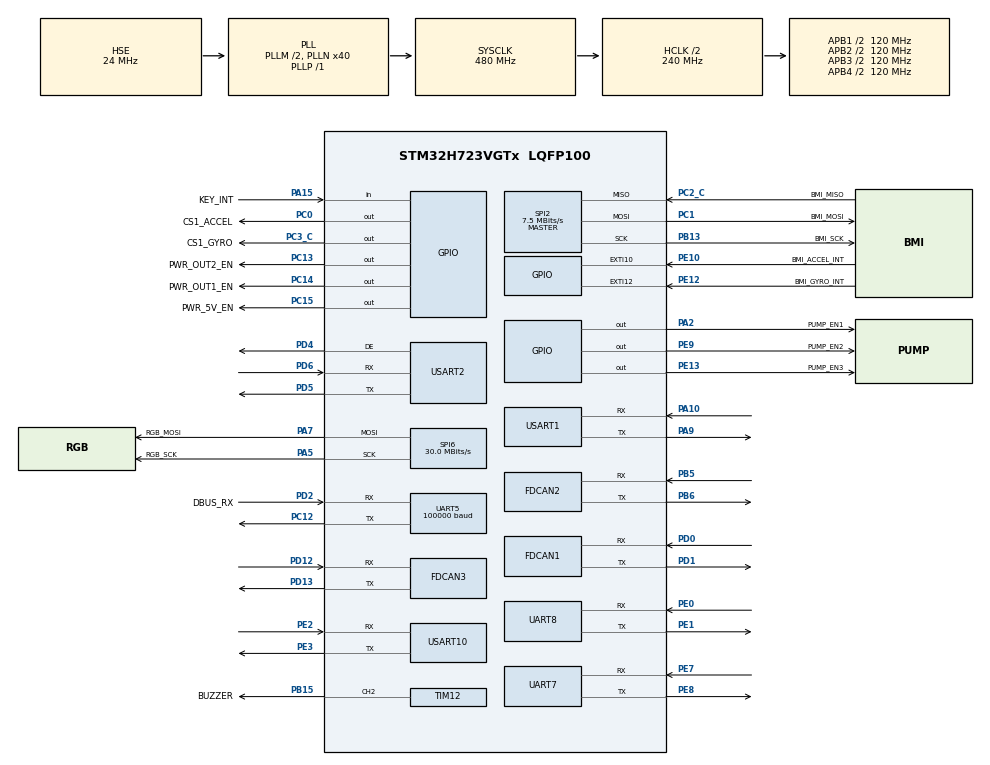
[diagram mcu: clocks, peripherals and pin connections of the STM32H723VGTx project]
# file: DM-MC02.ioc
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CORTEX_M7.CPU_DCache=Disabled
CORTEX_M7.CPU_ICache=Enabled
CORTEX_M7.Enable-Cortex_Memory_Protection_Unit_Region0_Settings=MPU_REGION_ENABLE
CORTEX_M7.MPU_Control=__NULL
CORTEX_M7.default_mode_Activation=0
Dma.Request0=SPI2_RX
Dma.Request1=SPI2_TX
Dma.Request10=UART8_TX
Dma.Request2=USART10_RX
Dma.Request3=USART10_TX
Dma.Request4=UART5_RX
Dma.Request5=UART7_TX
Dma.Request6=USART1_TX
Dma.Request7=UART7_RX
Dma.Request8=USART1_RX
Dma.Request9=UART8_RX
Dma.SPI2_RX.0.Direction=DMA_PERIPH_TO_MEMORY
Dma.SPI2_RX.0.EventEnable=DISABLE
Dma.SPI2_RX.0.FIFOMode=DMA_FIFOMODE_DISABLE
Dma.SPI2_RX.0.Instance=DMA1_Stream1
Dma.SPI2_RX.0.MemDataAlignment=DMA_MDATAALIGN_BYTE
Dma.SPI2_RX.0.MemInc=DMA_MINC_ENABLE
Dma.SPI2_RX.0.Mode=DMA_NORMAL
Dma.SPI2_RX.0.PeriphDataAlignment=DMA_PDATAALIGN_BYTE
Dma.SPI2_RX.0.PeriphInc=DMA_PINC_DISABLE
Dma.SPI2_RX.0.Polarity=HAL_DMAMUX_REQ_GEN_RISING
Dma.SPI2_RX.0.Priority=DMA_PRIORITY_VERY_HIGH
Dma.SPI2_RX.0.RequestNumber=1
Dma.SPI2_RX.0.SignalID=NONE
Dma.SPI2_RX.0.SyncEnable=DISABLE
Dma.SPI2_RX.0.SyncPolarity=HAL_DMAMUX_SYNC_NO_EVENT
Dma.SPI2_RX.0.SyncRequestNumber=1
Dma.SPI2_RX.0.SyncSignalID=NONE
Dma.SPI2_TX.1.Direction=DMA_MEMORY_TO_PERIPH
Dma.SPI2_TX.1.EventEnable=DISABLE
Dma.SPI2_TX.1.FIFOMode=DMA_FIFOMODE_DISABLE
Dma.SPI2_TX.1.Instance=DMA1_Stream2
Dma.SPI2_TX.1.MemDataAlignment=DMA_MDATAALIGN_BYTE
Dma.SPI2_TX.1.MemInc=DMA_MINC_ENABLE
Dma.SPI2_TX.1.Mode=DMA_NORMAL
Dma.SPI2_TX.1.PeriphDataAlignment=DMA_PDATAALIGN_BYTE
Dma.SPI2_TX.1.PeriphInc=DMA_PINC_DISABLE
Dma.SPI2_TX.1.Polarity=HAL_DMAMUX_REQ_GEN_RISING
Dma.SPI2_TX.1.Priority=DMA_PRIORITY_MEDIUM
Dma.SPI2_TX.1.RequestNumber=1
Dma.SPI2_TX.1.SignalID=NONE
Dma.SPI2_TX.1.SyncEnable=DISABLE
Dma.SPI2_TX.1.SyncPolarity=HAL_DMAMUX_SYNC_NO_EVENT
Dma.SPI2_TX.1.SyncRequestNumber=1
Dma.SPI2_TX.1.SyncSignalID=NONE
Dma.UART5_RX.4.Direction=DMA_PERIPH_TO_MEMORY
Dma.UART5_RX.4.EventEnable=DISABLE
Dma.UART5_RX.4.FIFOMode=DMA_FIFOMODE_DISABLE
Dma.UART5_RX.4.Instance=DMA1_Stream0
Dma.UART5_RX.4.MemDataAlignment=DMA_MDATAALIGN_BYTE
Dma.UART5_RX.4.MemInc=DMA_MINC_ENABLE
Dma.UART5_RX.4.Mode=DMA_CIRCULAR
Dma.UART5_RX.4.PeriphDataAlignment=DMA_PDATAALIGN_BYTE
Dma.UART5_RX.4.PeriphInc=DMA_PINC_DISABLE
Dma.UART5_RX.4.Polarity=HAL_DMAMUX_REQ_GEN_RISING
Dma.UART5_RX.4.Priority=DMA_PRIORITY_VERY_HIGH
Dma.UART5_RX.4.RequestNumber=1
Dma.UART5_RX.4.SignalID=NONE
Dma.UART5_RX.4.SyncEnable=DISABLE
Dma.UART5_RX.4.SyncPolarity=HAL_DMAMUX_SYNC_NO_EVENT
Dma.UART5_RX.4.SyncRequestNumber=1
Dma.UART5_RX.4.SyncSignalID=NONE
Dma.UART7_RX.7.Direction=DMA_PERIPH_TO_MEMORY
Dma.UART7_RX.7.EventEnable=DISABLE
Dma.UART7_RX.7.FIFOMode=DMA_FIFOMODE_DISABLE
Dma.UART7_RX.7.Instance=DMA1_Stream7
Dma.UART7_RX.7.MemDataAlignment=DMA_MDATAALIGN_BYTE
Dma.UART7_RX.7.MemInc=DMA_MINC_ENABLE
Dma.UART7_RX.7.Mode=DMA_NORMAL
Dma.UART7_RX.7.PeriphDataAlignment=DMA_PDATAALIGN_BYTE
Dma.UART7_RX.7.PeriphInc=DMA_PINC_DISABLE
Dma.UART7_RX.7.Polarity=HAL_DMAMUX_REQ_GEN_RISING
Dma.UART7_RX.7.Priority=DMA_PRIORITY_HIGH
Dma.UART7_RX.7.RequestNumber=1
Dma.UART7_RX.7.SignalID=NONE
Dma.UART7_RX.7.SyncEnable=DISABLE
Dma.UART7_RX.7.SyncPolarity=HAL_DMAMUX_SYNC_NO_EVENT
Dma.UART7_RX.7.SyncRequestNumber=1
Dma.UART7_RX.7.SyncSignalID=NONE
Dma.UART7_TX.5.Direction=DMA_MEMORY_TO_PERIPH
Dma.UART7_TX.5.EventEnable=DISABLE
Dma.UART7_TX.5.FIFOMode=DMA_FIFOMODE_DISABLE
Dma.UART7_TX.5.Instance=DMA1_Stream3
Dma.UART7_TX.5.MemDataAlignment=DMA_MDATAALIGN_BYTE
Dma.UART7_TX.5.MemInc=DMA_MINC_ENABLE
Dma.UART7_TX.5.Mode=DMA_NORMAL
Dma.UART7_TX.5.PeriphDataAlignment=DMA_PDATAALIGN_BYTE
Dma.UART7_TX.5.PeriphInc=DMA_PINC_DISABLE
Dma.UART7_TX.5.Polarity=HAL_DMAMUX_REQ_GEN_RISING
Dma.UART7_TX.5.Priority=DMA_PRIORITY_LOW
Dma.UART7_TX.5.RequestNumber=1
Dma.UART7_TX.5.SignalID=NONE
Dma.UART7_TX.5.SyncEnable=DISABLE
Dma.UART7_TX.5.SyncPolarity=HAL_DMAMUX_SYNC_NO_EVENT
Dma.UART7_TX.5.SyncRequestNumber=1
Dma.UART7_TX.5.SyncSignalID=NONE
Dma.UART8_RX.9.Direction=DMA_PERIPH_TO_MEMORY
Dma.UART8_RX.9.EventEnable=DISABLE
Dma.UART8_RX.9.FIFOMode=DMA_FIFOMODE_DISABLE
Dma.UART8_RX.9.Instance=DMA2_Stream1
Dma.UART8_RX.9.MemDataAlignment=DMA_MDATAALIGN_BYTE
Dma.UART8_RX.9.MemInc=DMA_MINC_ENABLE
Dma.UART8_RX.9.Mode=DMA_NORMAL
Dma.UART8_RX.9.PeriphDataAlignment=DMA_PDATAALIGN_BYTE
Dma.UART8_RX.9.PeriphInc=DMA_PINC_DISABLE
Dma.UART8_RX.9.Polarity=HAL_DMAMUX_REQ_GEN_RISING
Dma.UART8_RX.9.Priority=DMA_PRIORITY_HIGH
Dma.UART8_RX.9.RequestNumber=1
Dma.UART8_RX.9.SignalID=NONE
Dma.UART8_RX.9.SyncEnable=DISABLE
Dma.UART8_RX.9.SyncPolarity=HAL_DMAMUX_SYNC_NO_EVENT
Dma.UART8_RX.9.SyncRequestNumber=1
Dma.UART8_RX.9.SyncSignalID=NONE
Dma.UART8_TX.10.Direction=DMA_MEMORY_TO_PERIPH
Dma.UART8_TX.10.EventEnable=DISABLE
Dma.UART8_TX.10.FIFOMode=DMA_FIFOMODE_DISABLE
Dma.UART8_TX.10.Instance=DMA2_Stream2
Dma.UART8_TX.10.MemDataAlignment=DMA_MDATAALIGN_BYTE
Dma.UART8_TX.10.MemInc=DMA_MINC_ENABLE
Dma.UART8_TX.10.Mode=DMA_NORMAL
Dma.UART8_TX.10.PeriphDataAlignment=DMA_PDATAALIGN_BYTE
Dma.UART8_TX.10.PeriphInc=DMA_PINC_DISABLE
Dma.UART8_TX.10.Polarity=HAL_DMAMUX_REQ_GEN_RISING
Dma.UART8_TX.10.Priority=DMA_PRIORITY_LOW
Dma.UART8_TX.10.RequestNumber=1
Dma.UART8_TX.10.SignalID=NONE
Dma.UART8_TX.10.SyncEnable=DISABLE
Dma.UART8_TX.10.SyncPolarity=HAL_DMAMUX_SYNC_NO_EVENT
Dma.UART8_TX.10.SyncRequestNumber=1
Dma.UART8_TX.10.SyncSignalID=NONE
Dma.USART10_RX.2.Direction=DMA_PERIPH_TO_MEMORY
Dma.USART10_RX.2.EventEnable=DISABLE
Dma.USART10_RX.2.FIFOMode=DMA_FIFOMODE_DISABLE
Dma.USART10_RX.2.Instance=DMA1_Stream5
Dma.USART10_RX.2.MemDataAlignment=DMA_MDATAALIGN_BYTE
Dma.USART10_RX.2.MemInc=DMA_MINC_ENABLE
Dma.USART10_RX.2.Mode=DMA_CIRCULAR
Dma.USART10_RX.2.PeriphDataAlignment=DMA_PDATAALIGN_BYTE
Dma.USART10_RX.2.PeriphInc=DMA_PINC_DISABLE
Dma.USART10_RX.2.Polarity=HAL_DMAMUX_REQ_GEN_RISING
Dma.USART10_RX.2.Priority=DMA_PRIORITY_VERY_HIGH
Dma.USART10_RX.2.RequestNumber=1
Dma.USART10_RX.2.SignalID=NONE
Dma.USART10_RX.2.SyncEnable=DISABLE
Dma.USART10_RX.2.SyncPolarity=HAL_DMAMUX_SYNC_NO_EVENT
Dma.USART10_RX.2.SyncRequestNumber=1
Dma.USART10_RX.2.SyncSignalID=NONE
Dma.USART10_TX.3.Direction=DMA_MEMORY_TO_PERIPH
Dma.USART10_TX.3.EventEnable=DISABLE
Dma.USART10_TX.3.FIFOMode=DMA_FIFOMODE_DISABLE
Dma.USART10_TX.3.Instance=DMA1_Stream6
Dma.USART10_TX.3.MemDataAlignment=DMA_MDATAALIGN_BYTE
Dma.USART10_TX.3.MemInc=DMA_MINC_ENABLE
Dma.USART10_TX.3.Mode=DMA_NORMAL
Dma.USART10_TX.3.PeriphDataAlignment=DMA_PDATAALIGN_BYTE
Dma.USART10_TX.3.PeriphInc=DMA_PINC_DISABLE
Dma.USART10_TX.3.Polarity=HAL_DMAMUX_REQ_GEN_RISING
Dma.USART10_TX.3.Priority=DMA_PRIORITY_VERY_HIGH
Dma.USART10_TX.3.RequestNumber=1
Dma.USART10_TX.3.SignalID=NONE
Dma.USART10_TX.3.SyncEnable=DISABLE
Dma.USART10_TX.3.SyncPolarity=HAL_DMAMUX_SYNC_NO_EVENT
Dma.USART10_TX.3.SyncRequestNumber=1
Dma.USART10_TX.3.SyncSignalID=NONE
Dma.USART1_RX.8.Direction=DMA_PERIPH_TO_MEMORY
Dma.USART1_RX.8.EventEnable=DISABLE
Dma.USART1_RX.8.FIFOMode=DMA_FIFOMODE_DISABLE
Dma.USART1_RX.8.Instance=DMA2_Stream0
Dma.USART1_RX.8.MemDataAlignment=DMA_MDATAALIGN_BYTE
Dma.USART1_RX.8.MemInc=DMA_MINC_ENABLE
Dma.USART1_RX.8.Mode=DMA_NORMAL
Dma.USART1_RX.8.PeriphDataAlignment=DMA_PDATAALIGN_BYTE
Dma.USART1_RX.8.PeriphInc=DMA_PINC_DISABLE
Dma.USART1_RX.8.Polarity=HAL_DMAMUX_REQ_GEN_RISING
Dma.USART1_RX.8.Priority=DMA_PRIORITY_HIGH
Dma.USART1_RX.8.RequestNumber=1
Dma.USART1_RX.8.SignalID=NONE
Dma.USART1_RX.8.SyncEnable=DISABLE
Dma.USART1_RX.8.SyncPolarity=HAL_DMAMUX_SYNC_NO_EVENT
Dma.USART1_RX.8.SyncRequestNumber=1
Dma.USART1_RX.8.SyncSignalID=NONE
Dma.USART1_TX.6.Direction=DMA_MEMORY_TO_PERIPH
Dma.USART1_TX.6.EventEnable=DISABLE
Dma.USART1_TX.6.FIFOMode=DMA_FIFOMODE_DISABLE
Dma.USART1_TX.6.Instance=DMA1_Stream4
Dma.USART1_TX.6.MemDataAlignment=DMA_MDATAALIGN_BYTE
Dma.USART1_TX.6.MemInc=DMA_MINC_ENABLE
Dma.USART1_TX.6.Mode=DMA_NORMAL
Dma.USART1_TX.6.PeriphDataAlignment=DMA_PDATAALIGN_BYTE
Dma.USART1_TX.6.PeriphInc=DMA_PINC_DISABLE
Dma.USART1_TX.6.Polarity=HAL_DMAMUX_REQ_GEN_RISING
Dma.USART1_TX.6.Priority=DMA_PRIORITY_LOW
Dma.USART1_TX.6.RequestNumber=1
Dma.USART1_TX.6.SignalID=NONE
Dma.USART1_TX.6.SyncEnable=DISABLE
Dma.USART1_TX.6.SyncPolarity=HAL_DMAMUX_SYNC_NO_EVENT
Dma.USART1_TX.6.SyncRequestNumber=1
Dma.USART1_TX.6.SyncSignalID=NONE
FDCAN1.AutoRetransmission=ENABLE
FDCAN1.CalculateBaudRateNominal=1000000
FDCAN1.CalculateTimeBitNominal=1000
FDCAN1.CalculateTimeQuantumNominal=50.0
FDCAN1.ClockCalibrationCCU=DISABLE
FDCAN1.DataPrescaler=5
FDCAN1.DataTimeSeg1=14
FDCAN1.DataTimeSeg2=5
FDCAN1.ExtFiltersNbr=5
FDCAN1.MessageRAMOffset=0
FDCAN1.NominalPrescaler=5
FDCAN1.NominalTimeSeg1=14
FDCAN1.NominalTimeSeg2=5
FDCAN1.RxFifo0ElmtSize=FDCAN_DATA_BYTES_8
FDCAN1.RxFifo0ElmtsNbr=32
FDCAN1.RxFifo1ElmtSize=FDCAN_DATA_BYTES_24
FDCAN1.StdFiltersNbr=5
FDCAN1.TxElmtSize=FDCAN_DATA_BYTES_8
FDCAN1.TxFifoQueueElmtsNbr=32
FDCAN2.AutoRetransmission=ENABLE
FDCAN2.CalculateBaudRateNominal=1000000
FDCAN2.CalculateTimeBitNominal=1000
FDCAN2.CalculateTimeQuantumNominal=50.0
FDCAN2.DataPrescaler=5
FDCAN2.DataTimeSeg1=14
FDCAN2.DataTimeSeg2=5
FDCAN2.ExtFiltersNbr=5
FDCAN2.MessageRAMOffset=1280
FDCAN2.NominalPrescaler=5
FDCAN2.NominalTimeSeg1=14
FDCAN2.NominalTimeSeg2=5
FDCAN2.RxFifo0ElmtSize=FDCAN_DATA_BYTES_8
FDCAN2.RxFifo0ElmtsNbr=32
FDCAN2.RxFifo1ElmtSize=FDCAN_DATA_BYTES_8
FDCAN2.RxFifo1ElmtsNbr=0
FDCAN2.StdFiltersNbr=5
FDCAN2.TxElmtSize=FDCAN_DATA_BYTES_8
FDCAN2.TxFifoQueueElmtsNbr=8
FDCAN3.AutoRetransmission=ENABLE
FDCAN3.CalculateBaudRateNominal=1000000
FDCAN3.CalculateTimeBitNominal=1000
FDCAN3.CalculateTimeQuantumNominal=50.0
FDCAN3.DataPrescaler=5
FDCAN3.DataTimeSeg1=14
FDCAN3.DataTimeSeg2=5
FDCAN3.ExtFiltersNbr=5
FDCAN3.MessageRAMOffset=1709
FDCAN3.NominalPrescaler=5
FDCAN3.NominalTimeSeg1=14
FDCAN3.NominalTimeSeg2=5
FDCAN3.RxFifo0ElmtsNbr=0
FDCAN3.RxFifo1ElmtsNbr=32
FDCAN3.StdFiltersNbr=5
FDCAN3.TxFifoQueueElmtsNbr=20
FREERTOS.Tasks01=MonitorTask,32,512,StartMonitorTask,As weak,NULL,Dynamic,NULL,NULL;CtrlTask,32,512,StartCtrlTask,As weak,NULL,Dynamic,NULL,NULL;CommandTask,40,256,StartCommandTask,As weak,NULL,Dynamic,NULL,NULL;UpdataTask,16,256,StartUpdataTask,As weak,NULL,Dynamic,NULL,NULL;UITask,16,256,StartUITask,As weak,NULL,Dynamic,NULL,NULL
IWDG1.Prescaler=IWDG_PRESCALER_16
Mcu.Family=STM32H7
Mcu.Name=STM32H723VGTx
Mcu.Package=LQFP100
NVIC.DMA1_Stream0_IRQn=true\:0\:0\:false\:false\:true\:false\:false\:true\:true
NVIC.DMA1_Stream1_IRQn=true\:5\:0\:true\:false\:true\:true\:false\:true\:true
NVIC.DMA1_Stream2_IRQn=true\:5\:0\:true\:false\:true\:true\:false\:true\:true
NVIC.DMA1_Stream3_IRQn=true\:0\:0\:true\:false\:true\:false\:false\:true\:true
NVIC.DMA1_Stream4_IRQn=true\:0\:0\:true\:false\:true\:false\:false\:true\:true
NVIC.DMA1_Stream5_IRQn=true\:0\:0\:true\:false\:true\:false\:false\:true\:true
NVIC.DMA1_Stream6_IRQn=true\:0\:0\:true\:false\:true\:false\:false\:true\:true
NVIC.DMA1_Stream7_IRQn=true\:0\:0\:true\:false\:true\:false\:false\:true\:true
NVIC.DMA2_Stream0_IRQn=true\:0\:0\:true\:false\:true\:false\:false\:true\:true
NVIC.DMA2_Stream1_IRQn=true\:0\:0\:true\:false\:true\:false\:false\:true\:true
NVIC.DMA2_Stream2_IRQn=true\:0\:0\:true\:false\:true\:false\:false\:true\:true
NVIC.EXTI15_10_IRQn=true\:5\:0\:true\:false\:true\:true\:true\:true\:true
NVIC.FDCAN1_IT0_IRQn=true\:5\:0\:true\:false\:true\:true\:true\:true\:true
NVIC.FDCAN2_IT0_IRQn=true\:5\:0\:true\:false\:true\:true\:true\:true\:true
NVIC.FDCAN3_IT0_IRQn=true\:5\:0\:true\:false\:true\:true\:true\:true\:true
NVIC.PriorityGroup=NVIC_PRIORITYGROUP_4
NVIC.SPI2_IRQn=true\:5\:0\:true\:false\:true\:true\:true\:true\:true
NVIC.SPI6_IRQn=true\:5\:0\:true\:false\:true\:true\:true\:true\:true
NVIC.TIM2_IRQn=true\:15\:0\:false\:false\:true\:false\:false\:true\:true
NVIC.TimeBase=TIM2_IRQn
NVIC.TimeBaseIP=TIM2
NVIC.UART5_IRQn=true\:0\:0\:false\:false\:true\:false\:true\:true\:true
NVIC.UART7_IRQn=true\:5\:0\:true\:false\:true\:true\:true\:true\:true
NVIC.UART8_IRQn=true\:5\:0\:false\:false\:true\:true\:true\:true\:true
NVIC.USART10_IRQn=true\:5\:0\:false\:false\:true\:true\:true\:true\:true
NVIC.USART1_IRQn=true\:5\:0\:false\:false\:true\:true\:true\:true\:true
PA0.GPIO_Label=GIMB_PITCH_PWM
PA0.Signal=S_TIM2_CH1_ETR
PA10.Mode=Asynchronous
PA10.Signal=USART1_RX
PA13(JTMS/SWDIO).GPIO_Label=SWDIO
PA13(JTMS/SWDIO).Mode=Serial_Wire
PA13(JTMS/SWDIO).Signal=DEBUG_JTMS-SWDIO
PA14(JTCK/SWCLK).GPIO_Label=SWCLK
PA14(JTCK/SWCLK).Mode=Serial_Wire
PA14(JTCK/SWCLK).Signal=DEBUG_JTCK-SWCLK
PA15(JTDI).GPIO_Label=KEY_INT
PA15(JTDI).Signal=GPIO_Input
PA2.GPIO_Label=PUMP_EN1
PA2.GPIO_PuPd=GPIO_PULLDOWN
PA2.Signal=GPIO_Output
PA5.GPIO_Label=RGB_SCK
PA5.Mode=TX_Only_Simplex_Unidirect_Master
PA5.Signal=SPI6_SCK
PA7.GPIO_Label=RGB_MOSI
PA7.Mode=TX_Only_Simplex_Unidirect_Master
PA7.Signal=SPI6_MOSI
PA9.Mode=Asynchronous
PA9.Signal=USART1_TX
PB1.GPIO_Label=BMI_TEMP_PWM
PB1.Signal=S_TIM3_CH4
PB13.GPIO_Label=BMI_SCK
PB13.Mode=Full_Duplex_Master
PB13.Signal=SPI2_SCK
PB14.Signal=USART3_DE
PB15.GPIO_Label=BUZZER
PB15.Signal=S_TIM12_CH2
PB5.Mode=FDCAN_Activate
PB5.Signal=FDCAN2_RX
PB6.Mode=FDCAN_Activate
PB6.Signal=FDCAN2_TX
PC0.GPIO_Label=CS1_ACCEL
PC0.GPIO_Speed=GPIO_SPEED_FREQ_VERY_HIGH
PC0.PinState=GPIO_PIN_SET
PC0.Signal=GPIO_Output
PC1.GPIO_Label=BMI_MOSI
PC1.Mode=Full_Duplex_Master
PC1.Signal=SPI2_MOSI
PC12.Mode=Asynchronous
PC12.Signal=UART5_TX
PC13.GPIO_Label=PWR_OUT2_EN
PC13.Signal=GPIO_Output
PC14-OSC32_IN.GPIO_Label=PWR_OUT1_EN
PC14-OSC32_IN.Signal=GPIO_Output
PC15-OSC32_OUT.GPIO_Label=PWR_5V_EN
PC15-OSC32_OUT.PinState=GPIO_PIN_SET
PC15-OSC32_OUT.Signal=GPIO_Output
PC2_C.GPIO_Label=BMI_MISO
PC2_C.Mode=Full_Duplex_Master
PC2_C.Signal=SPI2_MISO
PC3_C.GPIO_Label=CS1_GYRO
PC3_C.GPIO_Speed=GPIO_SPEED_FREQ_VERY_HIGH
PC3_C.PinState=GPIO_PIN_SET
PC3_C.Signal=GPIO_Output
PD0.Mode=FDCAN_Activate
PD0.Signal=FDCAN1_RX
PD1.Mode=FDCAN_Activate
PD1.Signal=FDCAN1_TX
PD12.Mode=FDCAN_Activate
PD12.Signal=FDCAN3_RX
PD13.Mode=FDCAN_Activate
PD13.Signal=FDCAN3_TX
PD2.GPIO_Label=DBUS_RX
PD2.Mode=Asynchronous
PD2.Signal=UART5_RX
PD4.Mode=Hardware Flow Control (RS485)
PD4.Signal=USART2_DE
PD5.Mode=Asynchronous
PD5.Signal=USART2_TX
PD6.Mode=Asynchronous
PD6.Signal=USART2_RX
PD8.Signal=USART3_TX
PD9.Signal=USART3_RX
PE0.Mode=Asynchronous
PE0.Signal=UART8_RX
PE1.Mode=Asynchronous
PE1.Signal=UART8_TX
PE10.GPIO_Label=BMI_ACCEL_INT
PE10.Signal=GPXTI10
PE12.GPIO_Label=BMI_GYRO_INT
PE12.Signal=GPXTI12
PE13.GPIO_Label=PUMP_EN3
PE13.GPIO_PuPd=GPIO_PULLDOWN
PE13.Signal=GPIO_Output
PE2.Mode=Asynchronous
PE2.Signal=USART10_RX
PE3.Mode=Asynchronous
PE3.Signal=USART10_TX
PE7.Mode=Asynchronous
PE7.Signal=UART7_RX
PE8.Mode=Asynchronous
PE8.Signal=UART7_TX
PE9.GPIO_Label=PUMP_EN2
PE9.GPIO_PuPd=GPIO_PULLDOWN
PE9.Signal=GPIO_Output
PH0-OSC_IN.Mode=HSE-External-Oscillator
PH0-OSC_IN.Signal=RCC_OSC_IN
PH1-OSC_OUT.Mode=HSE-External-Oscillator
PH1-OSC_OUT.Signal=RCC_OSC_OUT
ProjectManager.HeapSize=0x2000
ProjectManager.StackSize=0x2000
ProjectManager.TargetToolchain=MDK-ARM V5.32
RCC.ADCFreq_Value=50000000
RCC.APB1Freq_Value=120000000
RCC.APB2Freq_Value=120000000
RCC.APB3Freq_Value=120000000
RCC.APB4Freq_Value=120000000
RCC.CortexFreq_Value=480000000
RCC.D1PPRE=RCC_APB3_DIV2
RCC.D2PPRE1=RCC_APB1_DIV2
RCC.D2PPRE2=RCC_APB2_DIV2
RCC.D3PPRE=RCC_APB4_DIV2
RCC.DIVM1=2
RCC.DIVM2=24
RCC.DIVN1=40
RCC.DIVN2=200
RCC.DIVP1=1
RCC.DIVP2=4
RCC.FDCANCLockSelection=RCC_FDCANCLKSOURCE_PLL2
RCC.HCLKFreq_Value=240000000
RCC.HPRE=RCC_HCLK_DIV2
RCC.HSE_VALUE=24000000
RCC.PLL1_VCO_SEL-AdvancedSettings=RCC_PLL1VCOWIDE
RCC.PLL2FRACN=0
RCC.PLL3FRACN=0
RCC.PLL3_VCO_SEL-AdvancedSettings=RCC_PLL3VCOMEDIUM
RCC.PLLFRACN=0
RCC.PLLSourceVirtual=RCC_PLLSOURCE_HSE
RCC.QSPICLockSelection=RCC_OSPICLKSOURCE_PLL2
RCC.SYSCLKFreq_VALUE=480000000
RCC.SYSCLKSource=RCC_SYSCLKSOURCE_PLLCLK
RCC.Tim2Mul=1
RCC.USBCLockSelection=RCC_USBCLKSOURCE_PLL3
RCC.USBFreq_Value=48375000
SH.S_TIM12_CH2.0=TIM12_CH2,PWM Generation2 CH2
SH.S_TIM2_CH1_ETR.0=TIM2_CH1
SH.S_TIM3_CH4.0=TIM3_CH4
SPI2.BaudRatePrescaler=SPI_BAUDRATEPRESCALER_32
SPI2.CLKPhase=SPI_PHASE_2EDGE
SPI2.CLKPolarity=SPI_POLARITY_HIGH
SPI2.CalculateBaudRate=7.5 MBits/s
SPI2.DataSize=SPI_DATASIZE_8BIT
SPI2.Direction=SPI_DIRECTION_2LINES
SPI2.Mode=SPI_MODE_MASTER
SPI2.NSSPMode=SPI_NSS_PULSE_DISABLE
SPI2.VirtualType=VM_MASTER
SPI6.BaudRatePrescaler=SPI_BAUDRATEPRESCALER_4
SPI6.CLKPhase=SPI_PHASE_2EDGE
SPI6.CalculateBaudRate=30.0 MBits/s
SPI6.DataSize=SPI_DATASIZE_8BIT
SPI6.Direction=SPI_DIRECTION_2LINES_TXONLY
SPI6.Mode=SPI_MODE_MASTER
SPI6.VirtualType=VM_MASTER
TIM12.Channel-PWM\ Generation2\ CH2=TIM_CHANNEL_2
TIM12.Period=2000-1
TIM12.Prescaler=24-1
TIM12.Pulse-PWM\ Generation2\ CH2=1000
UART5.BaudRate=100000
UART5.Mode=MODE_RX
UART5.Parity=PARITY_EVEN
UART5.StopBits=UART_STOPBITS_2
UART5.WordLength=WORDLENGTH_9B
USART1.VirtualMode-Asynchronous=VM_ASYNC
USART10.VirtualMode=VM_ASYNC
USART2.VirtualMode-Asynchronous=VM_ASYNC
USART2.VirtualMode-Hardware\ Flow\ Control\ (RS485)=VM_ASYNC
VP_FREERTOS_VS_CMSIS_V2.Mode=CMSIS_V2
VP_IWDG1_VS_IWDG.Mode=IWDG_Activate
VP_MEMORYMAP_VS_MEMORYMAP.Mode=CurAppReg
VP_SYS_VS_tim2.Mode=TIM2
board=custom

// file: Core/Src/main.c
/* USER CODE BEGIN Header */
/**
 ******************************************************************************
 * @file           : main.c
 * @brief          : Main program body
 ******************************************************************************
 * @attention
 *
 * Copyright (c) 2025 STMicroelectronics.
 * All rights reserved.
 *
 * This software is licensed under terms that can be found in the LICENSE file
 * in the root directory of this software component.
 * If no LICENSE file comes with this software, it is provided AS-IS.
 *
 ******************************************************************************
 */
/* USER CODE END Header */
#include "main.h"
#include "cmsis_os.h"
#include "dma.h"
#include "fdcan.h"
#include "iwdg.h"
#include "spi.h"
#include "tim.h"
#include "usart.h"
#include "gpio.h"

/* USER CODE BEGIN Includes */
#include "SEGGER_RTT.h"
#include "ui.h"
#include "device.h"
#include "driver.h"
/* USER CODE END Includes */

void SystemClock_Config(void);
void PeriphCommonClock_Config(void);
void MX_FREERTOS_Init(void);

int main(void)
{

  /* Enable the CPU Cache */

  /* Enable I-Cache---------------------------------------------------------*/
  SCB_EnableICache();

  /* MCU Configuration--------------------------------------------------------*/

  /* Reset of all peripherals, Initializes the Flash interface and the Systick. */
  HAL_Init();

  /* Configure the system clock */
  SystemClock_Config();

  /* Configure the peripherals common clocks */
  PeriphCommonClock_Config();

  /* Initialize all configured peripherals */
  MX_GPIO_Init();
  MX_DMA_Init();
  MX_SPI2_Init();
  MX_FDCAN1_Init();
  MX_SPI6_Init();
  MX_TIM12_Init();
  MX_USART2_UART_Init();
  MX_FDCAN2_Init();
  MX_FDCAN3_Init();
  MX_USART10_UART_Init();
  MX_UART5_Init();
  MX_UART7_Init();
  MX_IWDG1_Init();
  MX_USART1_UART_Init();
  MX_UART8_Init();
  /* USER CODE BEGIN 2 */
  My_Ui_Init();
  SEGGER_RTT_Init();
  DEVICE_Init();
  DRIVER_Init();

  /* USER CODE END 2 */

  /* Init scheduler */
  osKernelInitialize();  /* Call init function for freertos objects (in cmsis_os2.c) */
  MX_FREERTOS_Init();

  /* Start scheduler */
  osKernelStart();

  /* We should never get here as control is now taken by the scheduler */

  /* Infinite loop */
  while (1)
  {

  }
}

void SystemClock_Config(void)
{
  RCC_OscInitTypeDef RCC_OscInitStruct = {0};
  RCC_ClkInitTypeDef RCC_ClkInitStruct = {0};

  /** Supply configuration update enable
  */
  HAL_PWREx_ConfigSupply(PWR_LDO_SUPPLY);

  /** Configure the main internal regulator output voltage
  */
  __HAL_PWR_VOLTAGESCALING_CONFIG(PWR_REGULATOR_VOLTAGE_SCALE0);

  while(!__HAL_PWR_GET_FLAG(PWR_FLAG_VOSRDY)) {}

  /** Initializes the RCC Oscillators according to the specified parameters
  * in the RCC_OscInitTypeDef structure.
  */
  RCC_OscInitStruct.OscillatorType = RCC_OSCILLATORTYPE_LSI|RCC_OSCILLATORTYPE_HSE;
  RCC_OscInitStruct.HSEState = RCC_HSE_ON;
  RCC_OscInitStruct.LSIState = RCC_LSI_ON;
  RCC_OscInitStruct.PLL.PLLState = RCC_PLL_ON;
  RCC_OscInitStruct.PLL.PLLSource = RCC_PLLSOURCE_HSE;
  RCC_OscInitStruct.PLL.PLLM = 2;
  RCC_OscInitStruct.PLL.PLLN = 40;
  RCC_OscInitStruct.PLL.PLLP = 1;
  RCC_OscInitStruct.PLL.PLLQ = 2;
  RCC_OscInitStruct.PLL.PLLR = 2;
  RCC_OscInitStruct.PLL.PLLRGE = RCC_PLL1VCIRANGE_3;
  RCC_OscInitStruct.PLL.PLLVCOSEL = RCC_PLL1VCOWIDE;
  RCC_OscInitStruct.PLL.PLLFRACN = 0;
  if (HAL_RCC_OscConfig(&RCC_OscInitStruct) != HAL_OK)
  {
    Error_Handler();
  }

  /** Initializes the CPU, AHB and APB buses clocks
  */
  RCC_ClkInitStruct.ClockType = RCC_CLOCKTYPE_HCLK|RCC_CLOCKTYPE_SYSCLK
                              |RCC_CLOCKTYPE_PCLK1|RCC_CLOCKTYPE_PCLK2
                              |RCC_CLOCKTYPE_D3PCLK1|RCC_CLOCKTYPE_D1PCLK1;
  RCC_ClkInitStruct.SYSCLKSource = RCC_SYSCLKSOURCE_PLLCLK;
  RCC_ClkInitStruct.SYSCLKDivider = RCC_SYSCLK_DIV1;
  RCC_ClkInitStruct.AHBCLKDivider = RCC_HCLK_DIV2;
  RCC_ClkInitStruct.APB3CLKDivider = RCC_APB3_DIV2;
  RCC_ClkInitStruct.APB1CLKDivider = RCC_APB1_DIV2;
  RCC_ClkInitStruct.APB2CLKDivider = RCC_APB2_DIV2;
  RCC_ClkInitStruct.APB4CLKDivider = RCC_APB4_DIV2;

  if (HAL_RCC_ClockConfig(&RCC_ClkInitStruct, FLASH_LATENCY_3) != HAL_OK)
  {
    Error_Handler();
  }
}

void PeriphCommonClock_Config(void)
{
  RCC_PeriphCLKInitTypeDef PeriphClkInitStruct = {0};

  /** Initializes the peripherals clock
  */
  PeriphClkInitStruct.PeriphClockSelection = RCC_PERIPHCLK_FDCAN;
  PeriphClkInitStruct.PLL2.PLL2M = 24;
  PeriphClkInitStruct.PLL2.PLL2N = 200;
  PeriphClkInitStruct.PLL2.PLL2P = 4;
  PeriphClkInitStruct.PLL2.PLL2Q = 2;
  PeriphClkInitStruct.PLL2.PLL2R = 2;
  PeriphClkInitStruct.PLL2.PLL2RGE = RCC_PLL2VCIRANGE_0;
  PeriphClkInitStruct.PLL2.PLL2VCOSEL = RCC_PLL2VCOMEDIUM;
  PeriphClkInitStruct.PLL2.PLL2FRACN = 0;
  PeriphClkInitStruct.FdcanClockSelection = RCC_FDCANCLKSOURCE_PLL2;
  if (HAL_RCCEx_PeriphCLKConfig(&PeriphClkInitStruct) != HAL_OK)
  {
    Error_Handler();
  }
}

void HAL_TIM_PeriodElapsedCallback(TIM_HandleTypeDef *htim)
{
  if (htim->Instance == TIM2)
  {
    HAL_IncTick();
  }
}

void Error_Handler(void)
{
  __disable_irq();
  while (1)
  {
  }
}

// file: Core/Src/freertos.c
/* USER CODE BEGIN Header */
/**
 ******************************************************************************
 * File Name          : freertos.c
 * Description        : Code for freertos applications
 ******************************************************************************
 * @attention
 *
 * Copyright (c) 2025 STMicroelectronics.
 * All rights reserved.
 *
 * This software is licensed under terms that can be found in the LICENSE file
 * in the root directory of this software component.
 * If no LICENSE file comes with this software, it is provided AS-IS.
 *
 ******************************************************************************
 */
/* USER CODE END Header */

#include "FreeRTOS.h"
#include "task.h"
#include "main.h"
#include "cmsis_os.h"

/* USER CODE BEGIN Variables */
osSemaphoreId_t semTaskObserveToCtrl;
osSemaphoreId_t semTaskCtrlToObserve;
/* Definitions for RP_LogTask */
osThreadId_t RP_LogTaskHandle;
const osThreadAttr_t RP_LogTask_attributes = {
    .name = "RP_LogTask",
    .stack_size = 256 * 4,
    .priority = (osPriority_t)osPriorityAboveNormal,
};
/* USER CODE END Variables */
/* Definitions for MonitorTask */
osThreadId_t MonitorTaskHandle;
const osThreadAttr_t MonitorTask_attributes = {
  .name = "MonitorTask",
  .stack_size = 512 * 4,
  .priority = (osPriority_t) osPriorityAboveNormal,
};
/* Definitions for CtrlTask */
osThreadId_t CtrlTaskHandle;
const osThreadAttr_t CtrlTask_attributes = {
  .name = "CtrlTask",
  .stack_size = 512 * 4,
  .priority = (osPriority_t) osPriorityAboveNormal,
};
/* Definitions for CommandTask */
osThreadId_t CommandTaskHandle;
const osThreadAttr_t CommandTask_attributes = {
  .name = "CommandTask",
  .stack_size = 256 * 4,
  .priority = (osPriority_t) osPriorityHigh,
};
/* Definitions for UpdataTask */
osThreadId_t UpdataTaskHandle;
const osThreadAttr_t UpdataTask_attributes = {
  .name = "UpdataTask",
  .stack_size = 256 * 4,
  .priority = (osPriority_t) osPriorityBelowNormal,
};
/* Definitions for UITask */
osThreadId_t UITaskHandle;
const osThreadAttr_t UITask_attributes = {
  .name = "UITask",
  .stack_size = 256 * 4,
  .priority = (osPriority_t) osPriorityBelowNormal,
};

/* USER CODE BEGIN FunctionPrototypes */
void StartRP_LogTask(void *argument);
/* USER CODE END FunctionPrototypes */

void StartMonitorTask(void *argument);
void StartCtrlTask(void *argument);
void StartCommandTask(void *argument);
void StartUpdataTask(void *argument);
void StartUITask(void *argument);

void MX_FREERTOS_Init(void); /* (MISRA C 2004 rule 8.1) */

void MX_FREERTOS_Init(void) {

  /* Create the thread(s) */
  /* creation of MonitorTask */
  MonitorTaskHandle = osThreadNew(StartMonitorTask, NULL, &MonitorTask_attributes);

  /* creation of CtrlTask */
  CtrlTaskHandle = osThreadNew(StartCtrlTask, NULL, &CtrlTask_attributes);

  /* creation of CommandTask */
  CommandTaskHandle = osThreadNew(StartCommandTask, NULL, &CommandTask_attributes);

  /* creation of UpdataTask */
  UpdataTaskHandle = osThreadNew(StartUpdataTask, NULL, &UpdataTask_attributes);

  /* creation of UITask */
  UITaskHandle = osThreadNew(StartUITask, NULL, &UITask_attributes);

  /* USER CODE BEGIN RTOS_THREADS */
  /* add threads, ... */
  /* creation of RP_LogTask */
  RP_LogTaskHandle = osThreadNew(StartRP_LogTask, NULL, &RP_LogTask_attributes);
  /* USER CODE END RTOS_THREADS */

}

__weak void StartMonitorTask(void *argument)
{
  for (;;)
  {
    osDelay(1);
  }
}

__weak void StartCtrlTask(void *argument)
{
  for (;;)
  {
    osDelay(1);
  }
}

__weak void StartCommandTask(void *argument)
{
  for (;;)
  {
    osDelay(1);
  }
}

__weak void StartUpdataTask(void *argument)
{
  for (;;)
  {
    osDelay(1);
  }
}

__weak void StartUITask(void *argument)
{
  for (;;)
  {
    osDelay(1);
  }
}
